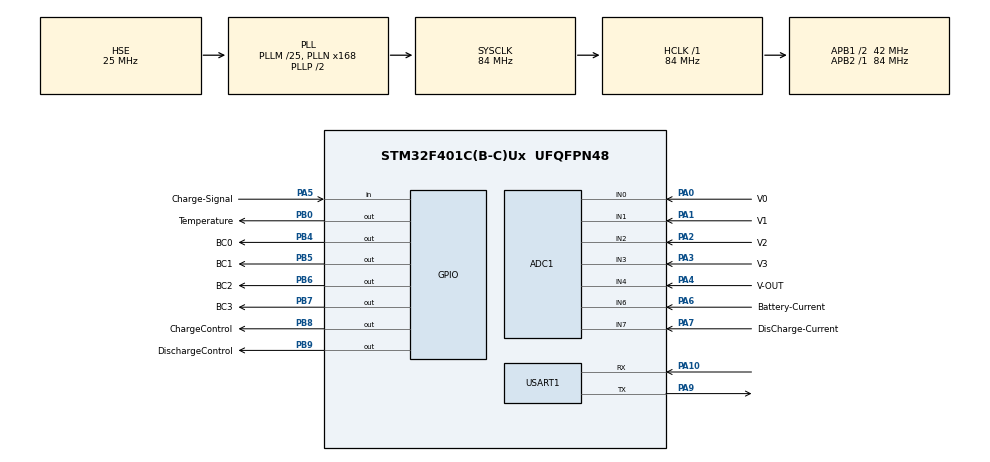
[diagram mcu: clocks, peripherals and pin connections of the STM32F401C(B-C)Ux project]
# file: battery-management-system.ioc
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ADC1.Channel-0\#ChannelRegularConversion=ADC_CHANNEL_0
ADC1.Channel-1\#ChannelRegularConversion=ADC_CHANNEL_1
ADC1.Channel-2\#ChannelRegularConversion=ADC_CHANNEL_2
ADC1.Channel-3\#ChannelRegularConversion=ADC_CHANNEL_3
ADC1.Channel-4\#ChannelRegularConversion=ADC_CHANNEL_4
ADC1.Channel-5\#ChannelRegularConversion=ADC_CHANNEL_6
ADC1.Channel-6\#ChannelRegularConversion=ADC_CHANNEL_7
ADC1.Channel-7\#ChannelRegularConversion=ADC_CHANNEL_VREFINT
ADC1.ContinuousConvMode=ENABLE
ADC1.DMAContinuousRequests=ENABLE
ADC1.DiscontinuousConvMode=DISABLE
ADC1.InjNumberOfConversion=0
ADC1.NbrOfConversion=8
ADC1.NbrOfConversionFlag=1
ADC1.Rank-0\#ChannelRegularConversion=1
ADC1.Rank-1\#ChannelRegularConversion=2
ADC1.Rank-2\#ChannelRegularConversion=3
ADC1.Rank-3\#ChannelRegularConversion=4
ADC1.Rank-4\#ChannelRegularConversion=5
ADC1.Rank-5\#ChannelRegularConversion=6
ADC1.Rank-6\#ChannelRegularConversion=7
ADC1.Rank-7\#ChannelRegularConversion=8
ADC1.SamplingTime-0\#ChannelRegularConversion=ADC_SAMPLETIME_144CYCLES
ADC1.SamplingTime-1\#ChannelRegularConversion=ADC_SAMPLETIME_144CYCLES
ADC1.SamplingTime-2\#ChannelRegularConversion=ADC_SAMPLETIME_144CYCLES
ADC1.SamplingTime-3\#ChannelRegularConversion=ADC_SAMPLETIME_144CYCLES
ADC1.SamplingTime-4\#ChannelRegularConversion=ADC_SAMPLETIME_144CYCLES
ADC1.SamplingTime-5\#ChannelRegularConversion=ADC_SAMPLETIME_144CYCLES
ADC1.SamplingTime-6\#ChannelRegularConversion=ADC_SAMPLETIME_144CYCLES
ADC1.SamplingTime-7\#ChannelRegularConversion=ADC_SAMPLETIME_144CYCLES
ADC1.ScanConvMode=ENABLE
ADC1.master=1
Dma.ADC1.0.Direction=DMA_PERIPH_TO_MEMORY
Dma.ADC1.0.FIFOMode=DMA_FIFOMODE_DISABLE
Dma.ADC1.0.Instance=DMA2_Stream0
Dma.ADC1.0.MemDataAlignment=DMA_MDATAALIGN_HALFWORD
Dma.ADC1.0.MemInc=DMA_MINC_ENABLE
Dma.ADC1.0.Mode=DMA_CIRCULAR
Dma.ADC1.0.PeriphDataAlignment=DMA_PDATAALIGN_HALFWORD
Dma.ADC1.0.PeriphInc=DMA_PINC_DISABLE
Dma.ADC1.0.Priority=DMA_PRIORITY_LOW
Dma.Request0=ADC1
Mcu.Family=STM32F4
Mcu.Name=STM32F401C(B-C)Ux
Mcu.Package=UFQFPN48
NVIC.DMA2_Stream0_IRQn=true\:0\:0\:false\:false\:true\:false\:true\:true
NVIC.PriorityGroup=NVIC_PRIORITYGROUP_4
NVIC.USART1_IRQn=true\:0\:0\:false\:false\:true\:true\:true\:true
PA0-WKUP.GPIO_Label=V0
PA0-WKUP.Signal=ADCx_IN0
PA1.GPIO_Label=V1
PA1.Signal=ADCx_IN1
PA10.Mode=Asynchronous
PA10.Signal=USART1_RX
PA13.Mode=Serial_Wire
PA13.Signal=SYS_JTMS-SWDIO
PA14.Mode=Serial_Wire
PA14.Signal=SYS_JTCK-SWCLK
PA2.GPIO_Label=V2
PA2.Signal=ADCx_IN2
PA3.GPIO_Label=V3
PA3.Signal=ADCx_IN3
PA4.GPIO_Label=V-OUT
PA4.Signal=ADCx_IN4
PA5.GPIO_Label=Charge-Signal
PA5.GPIO_PuPd=GPIO_PULLUP
PA5.Signal=GPIO_Input
PA6.GPIO_Label=Battery-Current
PA6.Signal=ADCx_IN6
PA7.GPIO_Label=DisCharge-Current
PA7.Signal=ADCx_IN7
PA9.Mode=Asynchronous
PA9.Signal=USART1_TX
PB0.GPIO_Label=Temperature
PB0.Signal=GPIO_Output
PB4.GPIO_Label=BC0
PB4.Signal=GPIO_Output
PB5.GPIO_Label=BC1
PB5.Signal=GPIO_Output
PB6.GPIO_Label=BC2
PB6.Signal=GPIO_Output
PB7.GPIO_Label=BC3
PB7.Signal=GPIO_Output
PB8.GPIO_Label=ChargeControl
PB8.Signal=GPIO_Output
PB9.GPIO_Label=DischargeControl
PB9.Signal=GPIO_Output
PH0\ -\ OSC_IN.Mode=HSE-External-Oscillator
PH0\ -\ OSC_IN.Signal=RCC_OSC_IN
PH1\ -\ OSC_OUT.Mode=HSE-External-Oscillator
PH1\ -\ OSC_OUT.Signal=RCC_OSC_OUT
ProjectManager.HeapSize=0x200
ProjectManager.StackSize=0x400
ProjectManager.TargetToolchain=STM32CubeIDE
RCC.48MHZClocksFreq_Value=42000000
RCC.AHBFreq_Value=84000000
RCC.APB1CLKDivider=RCC_HCLK_DIV2
RCC.APB1Freq_Value=42000000
RCC.APB1TimFreq_Value=84000000
RCC.APB2Freq_Value=84000000
RCC.APB2TimFreq_Value=84000000
RCC.CortexFreq_Value=84000000
RCC.HCLKFreq_Value=84000000
RCC.HSE_VALUE=25000000
RCC.HSI_VALUE=16000000
RCC.LSE_VALUE=32768
RCC.PLLM=25
RCC.PLLN=168
RCC.PLLSourceVirtual=RCC_PLLSOURCE_HSE
RCC.SYSCLKFreq_VALUE=84000000
RCC.SYSCLKSource=RCC_SYSCLKSOURCE_PLLCLK
RCC.VCOOutputFreq_Value=168000000
SH.ADCx_IN0.0=ADC1_IN0,IN0
SH.ADCx_IN1.0=ADC1_IN1,IN1
SH.ADCx_IN2.0=ADC1_IN2,IN2
SH.ADCx_IN3.0=ADC1_IN3,IN3
SH.ADCx_IN4.0=ADC1_IN4,IN4
SH.ADCx_IN6.0=ADC1_IN6,IN6
SH.ADCx_IN7.0=ADC1_IN7,IN7
TIM2.Period=65535
TIM2.Prescaler=83
USART1.VirtualMode=VM_ASYNC
VP_ADC1_Vref_Input.Mode=IN-Vrefint
VP_TIM2_VS_ClockSourceINT.Mode=Internal
board=custom

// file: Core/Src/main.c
/* USER CODE BEGIN Header */
/**
  ******************************************************************************
  * @file           : main.c
  * @brief          : Main program body
  ******************************************************************************
  * @attention
  *
  * Copyright (c) 2026 STMicroelectronics.
  * All rights reserved.
  *
  * This software is licensed under terms that can be found in the LICENSE file
  * in the root directory of this software component.
  * If no LICENSE file comes with this software, it is provided AS-IS.
  *
  ******************************************************************************
  */
/* USER CODE END Header */
#include "main.h"

/* USER CODE BEGIN Includes */
#include "ds18b20.h"
#include <stdio.h>
#include <string.h>
#include "protection.h"
#include "ADC_Current-Voltage.h"
#include "balance.h"
#include "battery.h"
#include "bms_protocol.h"
/* USER CODE END Includes */

ADC_HandleTypeDef hadc1;
DMA_HandleTypeDef hdma_adc1;

TIM_HandleTypeDef htim2;

UART_HandleTypeDef huart1;

void SystemClock_Config(void);
static void MX_GPIO_Init(void);
static void MX_DMA_Init(void);
static void MX_ADC1_Init(void);
static void MX_USART1_UART_Init(void);
static void MX_TIM2_Init(void);

/* USER CODE BEGIN 0 */
uint16_t adcBufDMA[ADC_CHANNELS * ADC_SAMPLES];
uint16_t adcBufProcess[ADC_CHANNELS * ADC_SAMPLES];

volatile uint8_t adcReady = 0;

float g_vdda;
float cellVoltage[4];
float batteryVoltage = 0;
float dischargeVoltage = 0;
float minCell = 0;
float maxCell = 0;
float currentOffset = 2.42;
float dischargeCurrentOffset = 2.462;
float Current = 0;
float dischargeCurrent = 0;

uint8_t balanceState[4];

//thêm các biến để đo nhiệt độ tại 4 điểm,nhiệt độ lớn nhất
DS18B20_Name DS1;
DS18B20_Name DS2;
DS18B20_Name DS3;
DS18B20_Name DS4;
float cellTemp[4] = {85, 85, 85, 85};
float Temp;
float maxCellTemp;
float minCellTemp;

uint8_t chargeSignal = 1;

int __io_putchar(int ch)
{
    HAL_UART_Transmit(&huart1, (uint8_t *)&ch, 1, HAL_MAX_DELAY);
    return ch;
}

/* USER CODE END 0 */

int main(void)
{

  /* MCU Configuration--------------------------------------------------------*/

  /* Reset of all peripherals, Initializes the Flash interface and the Systick. */
  HAL_Init();

  /* Configure the system clock */
  SystemClock_Config();

  /* Initialize all configured peripherals */
  MX_GPIO_Init();
  MX_DMA_Init();
  MX_ADC1_Init();
  MX_USART1_UART_Init();
  MX_TIM2_Init();
  /* USER CODE BEGIN 2 */
  HAL_ADC_Start_DMA(&hadc1, (uint32_t*)adcBufDMA, ADC_CHANNELS * ADC_SAMPLES);
  HAL_Delay(500);
  ADC_UpdateVdda();
//  khởi tạo các cảm biến nhiệt độ
  DS18B20_Init(&DS1, &htim2, GPIOB, GPIO_PIN_0);
  DS18B20_Init(&DS2, &htim2, GPIOB, GPIO_PIN_12);
  DS18B20_Init(&DS3, &htim2, GPIOB, GPIO_PIN_13);
  DS18B20_Init(&DS4, &htim2, GPIOB, GPIO_PIN_14);
//  ACS712_Calibrate();
  Balance_Init();

  Cell_ReadVoltage(cellVoltage, &batteryVoltage);
  Battery_GetMinMaxCellVoltage(cellVoltage, &minCell, &maxCell);
  Battery_Init(5200.0f, minCell);
  /* USER CODE END 2 */

  /* Infinite loop */
  /* USER CODE BEGIN WHILE */
  while (1)
  {
	while (adcReady == 0);
	ADC_UpdateVdda();

	chargeSignal = HAL_GPIO_ReadPin(GPIOA, GPIO_PIN_5);

//	tính toán giá trị nhiệt độ và tìm ra nhiệt độ cao nhất
	Temp = DS18B20_ReadTemp(&DS1);
	if (Temp < 85){
		cellTemp[0] = Temp;
	}
	Temp = DS18B20_ReadTemp(&DS2);
	if (Temp < 85){
		cellTemp[1] = Temp;
	}
	Temp = DS18B20_ReadTemp(&DS3);
	if (Temp < 85){
		cellTemp[2] = Temp;
	}
	Temp = DS18B20_ReadTemp(&DS4);
	if (Temp < 85){
		cellTemp[3] = Temp;
	}
	maxCellTemp = cellTemp[0];
	minCellTemp = cellTemp[0];
	for (int i=0; i<4; i++)
	{
		if (cellTemp[i] > maxCellTemp)
			maxCellTemp = cellTemp[i];
		if (cellTemp[i] < minCellTemp)
			minCellTemp = cellTemp[i];
	}

	Current = ACS712_ReadCurrent(5,currentOffset);
	dischargeCurrent = ACS712_ReadCurrent(6, dischargeCurrentOffset);
	printf("Max Temp: %.2f C\r\n", maxCellTemp);
	printf("Min Temp: %.2f C\r\n", minCellTemp);
	printf("Temp1: %.2f C\r\n", cellTemp[0]);
	printf("Temp2: %.2f C\r\n", cellTemp[1]);
	printf("Temp3: %.2f C\r\n", cellTemp[2]);
	printf("Temp4: %.2f C\r\n", cellTemp[3]);
	printf("Current: %.4f A\r\n", Current);
	printf("Discharge Current: %.4f A\r\n", dischargeCurrent);

	Cell_ReadVoltage(cellVoltage, &batteryVoltage);
	dischargeVoltage = Read_Voltage(4);
	Battery_UpdateCellSOC(cellVoltage);

	Battery_GetMinMaxCellVoltage(cellVoltage, &minCell, &maxCell);

//	thay đổi tham số đưa và từ Temp thành maxCellTemp
	Balance_Control(cellVoltage, maxCellTemp, minCell, maxCell, chargeSignal);

	BMS_Protection(maxCellTemp, minCellTemp, Current, minCell, maxCell, chargeSignal);

	Battery_Measurement(Current, minCell, chargeSignal);

	printf("Cell1: %.3fV, %.0f%%\r\n", cellVoltage[0], battery.cellSOC[0]);
	printf("Cell2: %.3fV, %.0f%%\r\n", cellVoltage[1], battery.cellSOC[1]);
	printf("Cell3: %.3fV, %.0f%%\r\n", cellVoltage[2], battery.cellSOC[2]);
	printf("Cell4: %.3fV, %.0f%%\r\n", cellVoltage[3], battery.cellSOC[3]);
	printf("Battery Voltage: %.3fV, %.0f%%\r\n", batteryVoltage, battery.soc);
	printf("Discharge Voltage: %.3fV\r\n", dischargeVoltage);

	printf("-------------------------\r\n");
	printf("MinCell = %.3f\r\n", minCell);
	printf("Remaining = %.1f\r\n", battery.remainingCapacity_mAh);
	printf("-------------------------\r\n");
	printf("-------------------------\r\n");

	BMS_Transmit(&huart1);

	HAL_Delay(2000);
    /* USER CODE END WHILE */

  }
}

void SystemClock_Config(void)
{
  RCC_OscInitTypeDef RCC_OscInitStruct = {0};
  RCC_ClkInitTypeDef RCC_ClkInitStruct = {0};

  /** Configure the main internal regulator output voltage
  */
  __HAL_RCC_PWR_CLK_ENABLE();
  __HAL_PWR_VOLTAGESCALING_CONFIG(PWR_REGULATOR_VOLTAGE_SCALE2);

  /** Initializes the RCC Oscillators according to the specified parameters
  * in the RCC_OscInitTypeDef structure.
  */
  RCC_OscInitStruct.OscillatorType = RCC_OSCILLATORTYPE_HSE;
  RCC_OscInitStruct.HSEState = RCC_HSE_ON;
  RCC_OscInitStruct.PLL.PLLState = RCC_PLL_ON;
  RCC_OscInitStruct.PLL.PLLSource = RCC_PLLSOURCE_HSE;
  RCC_OscInitStruct.PLL.PLLM = 25;
  RCC_OscInitStruct.PLL.PLLN = 168;
  RCC_OscInitStruct.PLL.PLLP = RCC_PLLP_DIV2;
  RCC_OscInitStruct.PLL.PLLQ = 4;
  if (HAL_RCC_OscConfig(&RCC_OscInitStruct) != HAL_OK)
  {
    Error_Handler();
  }

  /** Initializes the CPU, AHB and APB buses clocks
  */
  RCC_ClkInitStruct.ClockType = RCC_CLOCKTYPE_HCLK|RCC_CLOCKTYPE_SYSCLK
                              |RCC_CLOCKTYPE_PCLK1|RCC_CLOCKTYPE_PCLK2;
  RCC_ClkInitStruct.SYSCLKSource = RCC_SYSCLKSOURCE_PLLCLK;
  RCC_ClkInitStruct.AHBCLKDivider = RCC_SYSCLK_DIV1;
  RCC_ClkInitStruct.APB1CLKDivider = RCC_HCLK_DIV2;
  RCC_ClkInitStruct.APB2CLKDivider = RCC_HCLK_DIV1;

  if (HAL_RCC_ClockConfig(&RCC_ClkInitStruct, FLASH_LATENCY_2) != HAL_OK)
  {
    Error_Handler();
  }
}

static void MX_ADC1_Init(void)
{

  ADC_ChannelConfTypeDef sConfig = {0};

  /** Configure the global features of the ADC (Clock, Resolution, Data Alignment and number of conversion)
  */
  hadc1.Instance = ADC1;
  hadc1.Init.ClockPrescaler = ADC_CLOCK_SYNC_PCLK_DIV4;
  hadc1.Init.Resolution = ADC_RESOLUTION_12B;
  hadc1.Init.ScanConvMode = ENABLE;
  hadc1.Init.ContinuousConvMode = ENABLE;
  hadc1.Init.DiscontinuousConvMode = DISABLE;
  hadc1.Init.ExternalTrigConvEdge = ADC_EXTERNALTRIGCONVEDGE_NONE;
  hadc1.Init.ExternalTrigConv = ADC_SOFTWARE_START;
  hadc1.Init.DataAlign = ADC_DATAALIGN_RIGHT;
  hadc1.Init.NbrOfConversion = 8;
  hadc1.Init.DMAContinuousRequests = ENABLE;
  hadc1.Init.EOCSelection = ADC_EOC_SINGLE_CONV;
  if (HAL_ADC_Init(&hadc1) != HAL_OK)
  {
    Error_Handler();
  }

  /** Configure for the selected ADC regular channel its corresponding rank in the sequencer and its sample time.
  */
  sConfig.Channel = ADC_CHANNEL_0;
  sConfig.Rank = 1;
  sConfig.SamplingTime = ADC_SAMPLETIME_144CYCLES;
  if (HAL_ADC_ConfigChannel(&hadc1, &sConfig) != HAL_OK)
  {
    Error_Handler();
  }

  /** Configure for the selected ADC regular channel its corresponding rank in the sequencer and its sample time.
  */
  sConfig.Channel = ADC_CHANNEL_1;
  sConfig.Rank = 2;
  if (HAL_ADC_ConfigChannel(&hadc1, &sConfig) != HAL_OK)
  {
    Error_Handler();
  }

  /** Configure for the selected ADC regular channel its corresponding rank in the sequencer and its sample time.
  */
  sConfig.Channel = ADC_CHANNEL_2;
  sConfig.Rank = 3;
  if (HAL_ADC_ConfigChannel(&hadc1, &sConfig) != HAL_OK)
  {
    Error_Handler();
  }

  /** Configure for the selected ADC regular channel its corresponding rank in the sequencer and its sample time.
  */
  sConfig.Channel = ADC_CHANNEL_3;
  sConfig.Rank = 4;
  if (HAL_ADC_ConfigChannel(&hadc1, &sConfig) != HAL_OK)
  {
    Error_Handler();
  }

  /** Configure for the selected ADC regular channel its corresponding rank in the sequencer and its sample time.
  */
  sConfig.Channel = ADC_CHANNEL_4;
  sConfig.Rank = 5;
  if (HAL_ADC_ConfigChannel(&hadc1, &sConfig) != HAL_OK)
  {
    Error_Handler();
  }

  /** Configure for the selected ADC regular channel its corresponding rank in the sequencer and its sample time.
  */
  sConfig.Channel = ADC_CHANNEL_6;
  sConfig.Rank = 6;
  if (HAL_ADC_ConfigChannel(&hadc1, &sConfig) != HAL_OK)
  {
    Error_Handler();
  }

  /** Configure for the selected ADC regular channel its corresponding rank in the sequencer and its sample time.
  */
  sConfig.Channel = ADC_CHANNEL_7;
  sConfig.Rank = 7;
  if (HAL_ADC_ConfigChannel(&hadc1, &sConfig) != HAL_OK)
  {
    Error_Handler();
  }

  /** Configure for the selected ADC regular channel its corresponding rank in the sequencer and its sample time.
  */
  sConfig.Channel = ADC_CHANNEL_VREFINT;
  sConfig.Rank = 8;
  if (HAL_ADC_ConfigChannel(&hadc1, &sConfig) != HAL_OK)
  {
    Error_Handler();
  }

}

static void MX_TIM2_Init(void)
{

  TIM_ClockConfigTypeDef sClockSourceConfig = {0};
  TIM_MasterConfigTypeDef sMasterConfig = {0};

  htim2.Instance = TIM2;
  htim2.Init.Prescaler = 83;
  htim2.Init.CounterMode = TIM_COUNTERMODE_UP;
  htim2.Init.Period = 65535;
  htim2.Init.ClockDivision = TIM_CLOCKDIVISION_DIV1;
  htim2.Init.AutoReloadPreload = TIM_AUTORELOAD_PRELOAD_DISABLE;
  if (HAL_TIM_Base_Init(&htim2) != HAL_OK)
  {
    Error_Handler();
  }
  sClockSourceConfig.ClockSource = TIM_CLOCKSOURCE_INTERNAL;
  if (HAL_TIM_ConfigClockSource(&htim2, &sClockSourceConfig) != HAL_OK)
  {
    Error_Handler();
  }
  sMasterConfig.MasterOutputTrigger = TIM_TRGO_RESET;
  sMasterConfig.MasterSlaveMode = TIM_MASTERSLAVEMODE_DISABLE;
  if (HAL_TIMEx_MasterConfigSynchronization(&htim2, &sMasterConfig) != HAL_OK)
  {
    Error_Handler();
  }

}

static void MX_USART1_UART_Init(void)
{

  huart1.Instance = USART1;
  huart1.Init.BaudRate = 115200;
  huart1.Init.WordLength = UART_WORDLENGTH_8B;
  huart1.Init.StopBits = UART_STOPBITS_1;
  huart1.Init.Parity = UART_PARITY_NONE;
  huart1.Init.Mode = UART_MODE_TX_RX;
  huart1.Init.HwFlowCtl = UART_HWCONTROL_NONE;
  huart1.Init.OverSampling = UART_OVERSAMPLING_16;
  if (HAL_UART_Init(&huart1) != HAL_OK)
  {
    Error_Handler();
  }

}

static void MX_DMA_Init(void)
{

  /* DMA controller clock enable */
  __HAL_RCC_DMA2_CLK_ENABLE();

  /* DMA interrupt init */
  /* DMA2_Stream0_IRQn interrupt configuration */
  HAL_NVIC_SetPriority(DMA2_Stream0_IRQn, 0, 0);
  HAL_NVIC_EnableIRQ(DMA2_Stream0_IRQn);

}

static void MX_GPIO_Init(void)
{
  GPIO_InitTypeDef GPIO_InitStruct = {0};

  /* GPIO Ports Clock Enable */
  __HAL_RCC_GPIOH_CLK_ENABLE();
  __HAL_RCC_GPIOA_CLK_ENABLE();
  __HAL_RCC_GPIOB_CLK_ENABLE();

  /*Configure GPIO pin Output Level */
  HAL_GPIO_WritePin(GPIOB, Temperature1_Pin|Temperature2_Pin|Temperature3_Pin|Temperature4_Pin
                          |BC0_Pin|BC1_Pin|BC2_Pin|BC3_Pin
                          |ChargeControl_Pin|DischargeControl_Pin, GPIO_PIN_RESET);

  /*Configure GPIO pin : Charge_Signal_Pin */
  GPIO_InitStruct.Pin = Charge_Signal_Pin;
  GPIO_InitStruct.Mode = GPIO_MODE_INPUT;
  GPIO_InitStruct.Pull = GPIO_PULLUP;
  HAL_GPIO_Init(Charge_Signal_GPIO_Port, &GPIO_InitStruct);

  /*Configure GPIO pins : Temperature1_Pin Temperature2_Pin Temperature3_Pin Temperature4_Pin
                           BC0_Pin BC1_Pin BC2_Pin BC3_Pin
                           ChargeControl_Pin DischargeControl_Pin */
  GPIO_InitStruct.Pin = Temperature1_Pin|Temperature2_Pin|Temperature3_Pin|Temperature4_Pin
                          |BC0_Pin|BC1_Pin|BC2_Pin|BC3_Pin
                          |ChargeControl_Pin|DischargeControl_Pin;
  GPIO_InitStruct.Mode = GPIO_MODE_OUTPUT_PP;
  GPIO_InitStruct.Pull = GPIO_NOPULL;
  GPIO_InitStruct.Speed = GPIO_SPEED_FREQ_LOW;
  HAL_GPIO_Init(GPIOB, &GPIO_InitStruct);

}

/* USER CODE BEGIN 4 */
void HAL_ADC_ConvCpltCallback(ADC_HandleTypeDef *hadc)
{
    if(hadc->Instance == ADC1)
    {
        memcpy(adcBufProcess, adcBufDMA, sizeof(adcBufDMA));
        adcReady = 1;
    }
}
/* USER CODE END 4 */

void Error_Handler(void)
{
  __disable_irq();
  while (1)
  {
  }
}
